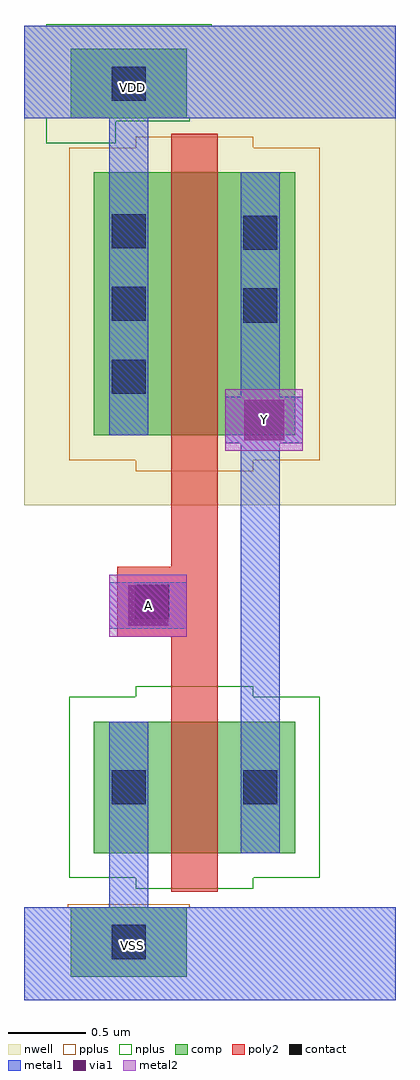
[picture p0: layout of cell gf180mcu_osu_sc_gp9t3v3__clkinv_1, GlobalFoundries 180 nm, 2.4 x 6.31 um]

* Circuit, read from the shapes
.subckt gf180mcu_osu_sc_gp9t3v3__clkinv_1 A VDD VSS Y
XM1 Y A VSS VSS nfet_03v3 w=0.85u l=0.3u
XM2 Y A VDD VDD pfet_03v3 w=1.7u l=0.3u
.ends

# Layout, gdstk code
import gdstk
lib = gdstk.Library(unit=1e-6, precision=1e-09)
def R(c, l, rs):  # rectangles x0, y0, x1, y1
    for r in rs: c.add(gdstk.rectangle(r[:2], r[2:], *l))
def A(c, l, x, y, w, h, nx, ny, dx, dy):  # array of equal rectangles
    R(c, l, [(x+i*dx, y+j*dy, x+i*dx+w, y+j*dy+h) for i in range(nx) for j in range(ny)])
nwell = (21, 0)
comp = (22, 0)
poly2 = (30, 0)
pplus = (31, 0)
nplus = (32, 0)
contact = (33, 0)
metal1 = (34, 0)
via1 = (35, 0)
metal2 = (36, 0)

gf180mcu_osu_sc_gp9t3v3_ = lib.new_cell('gf180mcu_osu_sc_gp9t3v3__clkinv_1')
R(gf180mcu_osu_sc_gp9t3v3_, nwell, [(0,3.2,2.4,6.3)])
R(gf180mcu_osu_sc_gp9t3v3_, comp, [(0.3,0.15,1.05,0.6), (0.45,0.95,1.75,1.8), (0.45,3.65,1.75,5.35), (0.3,5.7,1.05,6.15)])
R(gf180mcu_osu_sc_gp9t3v3_, poly2, [(0.95,0.7,1.25,2.35), (0.6,2.35,1.25,2.8), (0.95,2.8,1.25,5.6)])
R(gf180mcu_osu_sc_gp9t3v3_, pplus, [(0,0,2.4,0.6), (0.28,0.13,1.07,0.62), (0.72,3.42,1.48,3.49), (0.29,3.49,1.91,5.51), (0.72,5.51,1.48,5.58)])
R(gf180mcu_osu_sc_gp9t3v3_, nplus, [(0.72,0.72,1.48,0.79), (0.29,0.79,1.91,1.96), (0.72,1.96,1.48,2.03), (0.14,5.54,0.59,5.68), (0.14,5.68,1.07,5.7), (0,5.7,2.4,6.3), (0,5.7,2.4,6.3), (0.14,6.3,1.21,6.31)])
A(gf180mcu_osu_sc_gp9t3v3_, contact, 0.565, 3.92, 0.22, 0.22, 1, 3, 0, 0.47)
R(gf180mcu_osu_sc_gp9t3v3_, contact, [(0.565,0.265,0.785,0.485), (0.565,1.265,0.785,1.485), (1.415,1.265,1.635,1.485), (0.715,2.465,0.935,2.685), (1.415,4.38,1.635,4.6), (1.415,4.85,1.635,5.07), (0.565,5.815,0.785,6.035)])
R(gf180mcu_osu_sc_gp9t3v3_, metal1, [(0,0,2.4,0.6), (0.55,0.6,0.8,1.8), (1.4,0.95,1.65,3.6), (0.55,2.4,1.05,2.7), (1.3,3.6,1.8,3.9), (0.55,3.65,0.8,5.7), (1.4,3.9,1.65,5.35), (0,5.7,2.4,6.3)])
R(gf180mcu_osu_sc_gp9t3v3_, via1, [(0.67,2.42,0.93,2.68), (1.42,3.62,1.68,3.88)])
R(gf180mcu_osu_sc_gp9t3v3_, metal2, [(0.55,2.35,1.05,2.75), (1.3,3.55,1.8,3.95)])
gf180mcu_osu_sc_gp9t3v3_.add(gdstk.Label('A', (0.8,2.55), layer=36, texttype=10))
gf180mcu_osu_sc_gp9t3v3_.add(gdstk.Label('Y', (1.55,3.75), layer=36, texttype=10))
gf180mcu_osu_sc_gp9t3v3_.add(gdstk.Label('VDD', (0.7,5.9), layer=22, texttype=0))
gf180mcu_osu_sc_gp9t3v3_.add(gdstk.Label('VSS', (0.7,0.35), layer=22, texttype=0))

lib.write_gds('gf180mcu_osu_sc_gp9t3v3__clkinv_1.gds')
